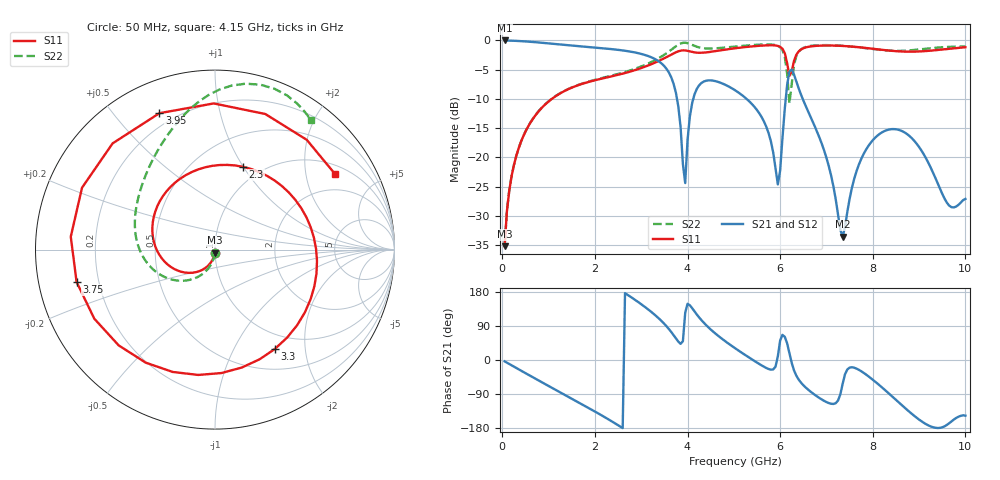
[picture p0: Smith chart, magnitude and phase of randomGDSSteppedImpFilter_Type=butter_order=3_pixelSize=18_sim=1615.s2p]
! freq	dB(S11)	phase(S11)	dB(S12)	phase(S12)
!  dB(S21)	phase(S21)	dB(S22)	phase(S22)
!S-par simulation data
#  GHz  S  DB  R 50
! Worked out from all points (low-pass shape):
!   200 points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, 50 MHz to 10 GHz, reference 50 ohm
!   highest |S21| = -0.01 dB at 50 MHz (marker M1); lowest = -33.6 dB at 7.35 GHz (marker M2)
!   |S21| within 3 dB of the highest: start of sweep to 3.253 GHz
!   lowest |S11| = -35.2 dB at 50 MHz (marker M3), VSWR 1.04, Z = 49.9 - j1.74 ohm
!   |S11| at or under -10 dB: start of sweep to 1.068 GHz
!   |S22| runs from -35.1 to -0.4 dB; largest |S21 - S12| = 0
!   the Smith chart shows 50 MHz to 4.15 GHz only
!   S11 on the Smith chart (normalised r, x): 50 MHz: 1.00, -0.03; 2.3 GHz: 0.83, +1.00; 3.3 GHz: 0.77, -1.47; 3.75 GHz: 0.12, -0.11; 3.95 GHz: 0.14, +0.66; 4.15 GHz: 1.31, +2.93
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0.05  -35.16 -93.8  -0.01 -3.5  -0.01 -3.5  -35.14 -92.7
0.5  -15.59 -130.6  -0.17 -34.7  -0.17 -34.7  -15.57 -119.7
1.75  -7.36 125.2  -1.05 -118.7  -1.05 -118.7  -7.30 176.2
2.3  -6.25 71.3  -1.44 -157.2  -1.44 -157.2  -6.14 153.3
2.9  -4.99 0.3  -2.12 155.9  -2.12 155.9  -4.75 130.4
3.3  -3.79 -59.1  -3.20 118.5  -3.20 118.5  -3.37 114.1
3.4  -3.43 -77.1  -3.69 107.4  -3.69 107.4  -2.93 109.5
3.75  -2.03 -166.8  -8.98 57.0  -8.98 57.0  -1.00 88.5
3.95  -1.72 112.2  -24.38 124.9  -24.38 124.9  -0.39 69.7
4.15  -2.04 32.2  -9.23 128.3  -9.23 128.3  -0.93 53.5
4.55  -1.89 -62.2  -6.87 75.2  -6.87 75.2  -1.38 32.7
5.05  -1.32 -128.3  -8.63 29.1  -8.63 29.1  -1.02 5.0
5.55  -0.92 178.6  -12.46 -10.6  -12.46 -10.6  -0.72 -26.1
5.95  -0.94 133.1  -24.60 9.6  -24.60 9.6  -0.93 -59.2
6.2  -6.06 109.4  -5.29 18.4  -5.29 18.4  -10.77 -71.3
6.35  -2.44 117.2  -7.04 -41.5  -7.04 -41.5  -2.65 -44.3
6.7  -0.99 73.0  -13.83 -87.6  -13.83 -87.6  -0.89 -80.4
7.35  -0.94 -2.0  -33.55 -62.6  -33.55 -62.6  -0.92 -131.4
7.9  -1.33 -67.1  -18.09 -42.4  -18.09 -42.4  -1.38 177.1
8.35  -1.74 -122.4  -15.23 -88.6  -15.23 -88.6  -1.74 123.5
9.15  -1.82 134.6  -20.15 -169.3  -20.15 -169.3  -1.41 18.2
10  -1.17 42.0  -27.08 -146.9  -27.08 -146.9  -1.03 -60.7
